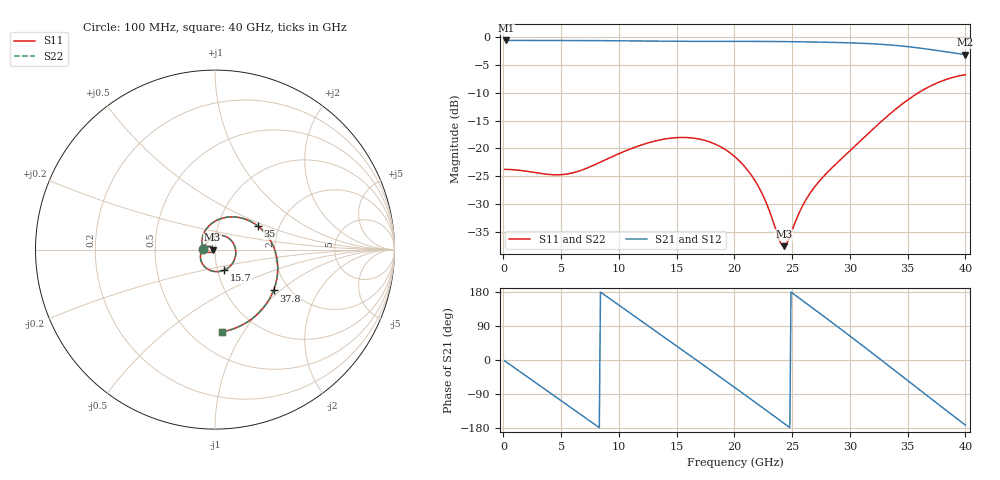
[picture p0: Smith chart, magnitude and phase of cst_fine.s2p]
! C_s8_ap800: L1→L8, antipad Ø0.8 on every plane
! stackup: 8-layer 1.6 mm FR-4 (generic)
! ports: 1, 2
! CST Studio Suite 2025.5 Release from 2025-05-30, time domain (FIT, hexahedral, PBA), 386496 mesh cells, 72 s
! mesh: {'lpw': 30.0, 'lpb': 30.0, 'minstep': 0.0, 'ratio': 20}; ports: port 1 (face); port 2 (face)
! interpolated from CST's 1001 samples to the case grid
# Hz S RI R 50
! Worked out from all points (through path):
!   400 points, 100 MHz to 40 GHz, reference 50 ohm
!   highest |S21| = -0.58 dB at 200 MHz (marker M1); lowest = -3.1 dB at 40 GHz (marker M2)
!   group delay of S21, straight-line fit = 61.7 ps
!   lowest |S11| = -37.6 dB at 24.3 GHz (marker M3), VSWR 1.03, Z = 48.7 - j0.104 ohm
!   |S11| at or under -10 dB: start of sweep to 35.92 GHz
!   |S22| runs from -37.6 to -6.7 dB; largest |S21 - S12| = 4.5e-07
!   S11 on the Smith chart (normalised r, x): 100 MHz: 0.88, +0.00; 15.7 GHz: 1.08, -0.25; 35 GHz: 1.55, +0.44; 37.8 GHz: 1.66, -0.90; 40 GHz: 0.70, -0.81
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1e8  -0.0648 0.0014  0.9344 -0.035  0.9344 -0.035  -0.0648 0.0014
2e8  -0.0648 0.0028  0.9325 -0.07  0.9325 -0.07  -0.0648 0.0028
1.8e9  -0.0584 0.0232  0.7301 -0.584  0.7301 -0.584  -0.0584 0.0232
3.7e9  -0.0441 0.0388  0.1706 -0.9188  0.1706 -0.9188  -0.0441 0.0388
5.2e9  -0.034 0.0474  -0.3459 -0.8677  -0.3459 -0.8677  -0.034 0.0474
6.8e9  -0.022 0.0601  -0.7752 -0.5194  -0.7752 -0.5194  -0.022 0.0601
9.6e9  0.0325 0.0796  -0.8318 0.4158  -0.8318 0.4158  0.0325 0.0796
1.16e10  0.0928 0.048  -0.3207 0.8688  -0.3207 0.8688  0.0928 0.048
1.34e10  0.1155 -0.0258  0.2943 0.8741  0.2943 0.8741  0.1155 -0.0258
1.57e10  0.0527 -0.1139  0.8534 0.3395  0.8534 0.3395  0.0527 -0.1139
1.78e10  -0.0446 -0.106  0.8388 -0.371  0.8388 -0.371  -0.0446 -0.106
2.01e10  -0.0795 -0.0244  0.2507 -0.8825  0.2507 -0.8825  -0.0795 -0.0244
2.2e10  -0.0444 0.0153  -0.4029 -0.8236  -0.4029 -0.8236  -0.0444 0.0153
2.43e10  -0.0132 -0.00107  -0.891 -0.201  -0.891 -0.201  -0.0132 -0.00107
2.67e10  -0.039 -0.0148  -0.6813 0.5975  -0.6813 0.5975  -0.039 -0.0148
2.82e10  -0.0628 0.00663  -0.2283 0.8706  -0.2283 0.8706  -0.0628 0.00665
2.97e10  -0.0722 0.0522  0.3008 0.8397  0.3008 0.8397  -0.0722 0.0522
3.17e10  -0.0291 0.1365  0.801 0.3534  0.801 0.3534  -0.0291 0.1365
3.34e10  0.0862 0.1822  0.8191 -0.2384  0.8191 -0.2384  0.0863 0.1822
3.5e10  0.2394 0.131  0.4817 -0.6671  0.4817 -0.6671  0.2394 0.131
3.78e10  0.326 -0.2279  -0.3809 -0.6496  -0.3809 -0.6496  0.326 -0.2279
4e10  0.0411 -0.4579  -0.6899 -0.0995  -0.6899 -0.0995  0.0411 -0.4579
